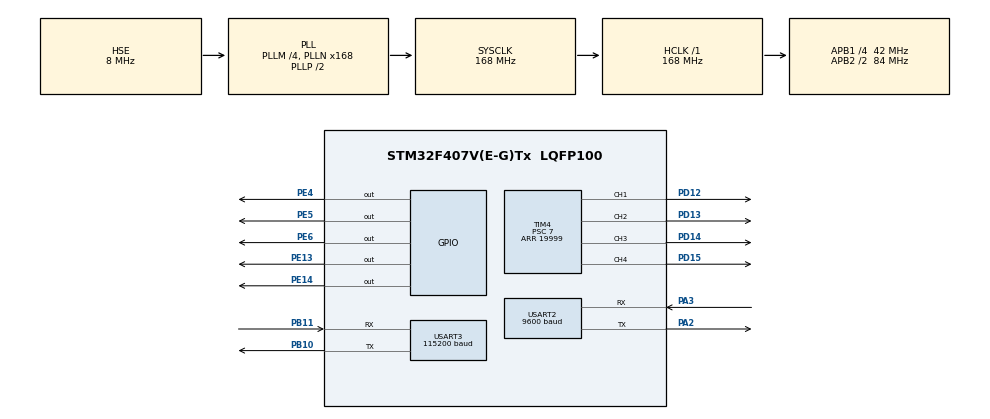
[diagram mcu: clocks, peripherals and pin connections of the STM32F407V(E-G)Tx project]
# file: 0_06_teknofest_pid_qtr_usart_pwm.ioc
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Mcu.Family=STM32F4
Mcu.Name=STM32F407V(E-G)Tx
Mcu.Package=LQFP100
NVIC.PriorityGroup=NVIC_PRIORITYGROUP_4
NVIC.USART2_IRQn=true\:0\:0\:false\:false\:true\:true\:true
NVIC.USART3_IRQn=true\:0\:0\:false\:false\:true\:true\:true
PA2.Mode=Asynchronous
PA2.Signal=USART2_TX
PA3.Mode=Asynchronous
PA3.Signal=USART2_RX
PB10.Mode=Asynchronous
PB10.Signal=USART3_TX
PB11.Mode=Asynchronous
PB11.Signal=USART3_RX
PD12.Signal=S_TIM4_CH1
PD13.Signal=S_TIM4_CH2
PD14.Signal=S_TIM4_CH3
PD15.Signal=S_TIM4_CH4
PE13.Signal=GPIO_Output
PE14.Signal=GPIO_Output
PE4.Signal=GPIO_Output
PE5.Signal=GPIO_Output
PE6.Signal=GPIO_Output
PH0-OSC_IN.Mode=HSE-External-Oscillator
PH0-OSC_IN.Signal=RCC_OSC_IN
PH1-OSC_OUT.Mode=HSE-External-Oscillator
PH1-OSC_OUT.Signal=RCC_OSC_OUT
ProjectManager.HeapSize=0x200
ProjectManager.StackSize=0x400
ProjectManager.TargetToolchain=TrueSTUDIO
RCC.48MHZClocksFreq_Value=84000000
RCC.AHBFreq_Value=168000000
RCC.APB1CLKDivider=RCC_HCLK_DIV4
RCC.APB1Freq_Value=42000000
RCC.APB1TimFreq_Value=84000000
RCC.APB2CLKDivider=RCC_HCLK_DIV2
RCC.APB2Freq_Value=84000000
RCC.APB2TimFreq_Value=168000000
RCC.CortexFreq_Value=168000000
RCC.HCLKFreq_Value=168000000
RCC.HSE_VALUE=8000000
RCC.HSI_VALUE=16000000
RCC.LSE_VALUE=32768
RCC.PLLM=4
RCC.PLLN=168
RCC.PLLSourceVirtual=RCC_PLLSOURCE_HSE
RCC.SYSCLKFreq_VALUE=168000000
RCC.SYSCLKSource=RCC_SYSCLKSOURCE_PLLCLK
RCC.VCOOutputFreq_Value=336000000
SH.S_TIM4_CH1.0=TIM4_CH1,PWM Generation1 CH1
SH.S_TIM4_CH2.0=TIM4_CH2,PWM Generation2 CH2
SH.S_TIM4_CH3.0=TIM4_CH3,PWM Generation3 CH3
SH.S_TIM4_CH4.0=TIM4_CH4,PWM Generation4 CH4
TIM4.Channel-PWM\ Generation1\ CH1=TIM_CHANNEL_1
TIM4.Channel-PWM\ Generation2\ CH2=TIM_CHANNEL_2
TIM4.Channel-PWM\ Generation3\ CH3=TIM_CHANNEL_3
TIM4.Channel-PWM\ Generation4\ CH4=TIM_CHANNEL_4
TIM4.Period=19999
TIM4.Prescaler=7
USART2.BaudRate=9600
USART2.VirtualMode=VM_ASYNC
USART3.BaudRate=115200
USART3.VirtualMode=VM_ASYNC
board=custom

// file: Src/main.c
/* USER CODE BEGIN Header */
/**
  ******************************************************************************
  * @file           : main.c
  * @brief          : Main program body
  ******************************************************************************
  * @attention
  *
  * Copyright (c) 2022 STMicroelectronics.
  * All rights reserved.
  *
  * This software is licensed under terms that can be found in the LICENSE file
  * in the root directory of this software component.
  * If no LICENSE file comes with this software, it is provided AS-IS.
  *
  ******************************************************************************
  */
/* USER CODE END Header */
#include "main.h"

/* USER CODE BEGIN Includes */
#include <stdlib.h>

/* USER CODE END Includes */

TIM_HandleTypeDef htim4;

UART_HandleTypeDef huart2;
UART_HandleTypeDef huart3;

void SystemClock_Config(void);
static void MX_GPIO_Init(void);
static void MX_TIM4_Init(void);
static void MX_USART2_UART_Init(void);
static void MX_USART3_UART_Init(void);
/* USER CODE BEGIN PFP */

uint32_t mapCalculation(long A,long B,long C,long D,long E);

/* USER CODE END PFP */

/* USER CODE BEGIN 0 */

//motor pins

#define Kp 0.09
#define Kd 1.08
#define rightMaxSpeed 255
#define leftMaxSpeed 255
#define rightBaseSpeed 200
#define leftBaseSpeed 200
#define maxPwmPulse 18500

#define yukAlmaPini GPIO_PIN_14
#define yukBirakmaPini GPIO_PIN_13
GPIO_PinState  yukAlmaPiniDurumu=SET;
GPIO_PinState yukBirakmaPiniDurumu=SET;

#define durmaLediPini GPIO_PIN_4
#define sagLediPini GPIO_PIN_6
#define solLediPini GPIO_PIN_5
GPIO_PinState  durmaLediDurumu=SET;
GPIO_PinState sagLediDurumu=RESET;
GPIO_PinState solLediDurumu=RESET;

int leftMotorSpeed=0,rightMotorSpeed=0;

uint32_t pwmPulseRight1=0; //tim4 channel1
uint32_t pwmPulseLeft1=0; //tim4 channel2

uint32_t pwmPulseRight2=0; //tim4 channel3
uint32_t pwmPulseLeft2=0; // tim4 channel 4

int ledKontrolDurum=0;

int lastError = 0;
uint16_t qtrPosition=0;
char qtrPosition_char[10];
char rx_buffer[50];
char tx_buffer[50];//led
char rx_byte[1];
int size=0;
int count=0;

uint32_t countTimer;
int delay_ms(uint32_t time) {
	countTimer=time;
	while(countTimer);
	return 1;
}

void SysTick_Handler(void)
{
  /* USER CODE BEGIN SysTick_IRQn 0 */

  /* USER CODE END SysTick_IRQn 0 */
  HAL_IncTick();
  /* USER CODE BEGIN SysTick_IRQn 1 */
  if(countTimer>0){
	  countTimer--;
  	}

  /* USER CODE END SysTick_IRQn 1 */
}
void USART3_IRQHandler(void)
{
  /* USER CODE BEGIN USART2_IRQn 0 */

   char rx_byte[1];

	   HAL_UART_Receive(&huart3,&rx_byte[0],1,100);

	   rx_buffer[size++]=rx_byte[0];

	   if(rx_byte[0]=='\n'){

		   uartMessageDebugNrf(rx_buffer);

		   //buffer is clear
		  	  for(int a=0;a<50;a++){
		       	rx_buffer[a]='\0';
		       	}
		      size=0;
	 }

  /* USER CODE END USART2_IRQn 0 */
  HAL_UART_IRQHandler(&huart3);
  /* USER CODE BEGIN USART2_IRQn 1 */
  /* USER CODE END USART2_IRQn 1 */
}

void USART2_IRQHandler(void)
{
  /* USER CODE BEGIN USART2_IRQn 0 */
   char rx_byte[1];

   HAL_UART_Receive(&huart2,&rx_byte[0],1,100);
   if(size<50){
	  rx_buffer[size++]=rx_byte[0];

	   if(rx_byte[0]=='\n'){

		   uartMessageDebugPid(rx_buffer);

		   //buffer is clear
		  	  for(int a=0;a<50;a++){
		       	rx_buffer[a]='\0';
		       	}
		      size=0;
	 }
}

  /* USER CODE END USART2_IRQn 0 */
  HAL_UART_IRQHandler(&huart2);
  /* USER CODE BEGIN USART2_IRQn 1 */
  /* USER CODE END USART2_IRQn 1 */
}

void uartMessageDebugPid (volatile char *s){

   if( s[0]=='p' && s[1]=='s' && s[2]=='t' ){

	 short k=3,m=0;
	 while(1){
		 if( s[k] != '\n'){
			 qtrPosition_char[m]=s[k];
		  k++;
		  m++;
		 }else {
			 qtrPosition_char[m] =s[k];
		   k=3;
		   m=0;
		   qtrPosition=atoi(qtrPosition_char);

		   qtrPidPwm(qtrPosition);

		   for(int a=0;a<10;a++){
			   qtrPosition_char[a]='\0';
		   	 }

		   break;
		  }

	 }

	 ledStabil();

  }else if(s[0]=='d' && s[1]=='u' && s[2]=='r'){

	  stop();
	  durLedYak();

  }
  else if(s[0]=='s' && s[1]=='a' && s[2]=='g'){

  	 right();
  	sagLedYak();
    }
  else if(s[0]=='s' && s[1]=='o' && s[2]=='l'){

	  left();
	  solLedYak();

   }else if(s[0]=='y' && s[1]=='u' && s[2]=='k' && s[3]=='a' && s[4]=='l' ){
	   yukAl();
	   durLedYak();
    }
   else if(s[0]=='y' && s[1]=='u' && s[2]=='k' && s[3]=='b' && s[4]=='i'
		   && s[5]=='r' && s[6]=='a' && s[7]=='k'){
	   yukBirak();
	   durLedYak();
       }
   else if(s[0]=='y' && s[1]=='u' && s[2]=='k' && s[3]=='o' && s[4]=='k'  && s[5]=='e' ){
   	   yukStabil();
          }
   else if(s[0]=='i' && s[1]=='l' && s[2]=='e'&& s[3]=='r' && s[4]=='i'  ){
		  ileriNrf();
		  ledStabil();

	  }

     else{

    	 for(int a=0;a<50;a++){
    			 rx_buffer[a]='\0';
          	}
         size=0;
     }

         }

void uartMessageDebugNrf(volatile char *s){

  if(s[0]=='i' && s[1]=='l' && s[2]=='e'&& s[3]=='r' && s[4]=='i' ){
	  ileriNrf();
	  ledStabil();

  }else if(s[0]=='d' && s[1]=='u' && s[2]=='r'){
	  stop();
	  durLedYak();

  }
  else if(s[0]=='s' && s[1]=='a' && s[2]=='g'){
  	  rightNrf();
  	  sagLedYak();

    }
  else if(s[0]=='s' && s[1]=='o' && s[2]=='l'){

	  leftNrf();
	  solLedYak();
   } else if(s[0]=='g' && s[1]=='e' && s[2]=='r' && s[3]=='i'){
	   geriNrf();
	   }
   else if(s[0]=='y' && s[1]=='u' && s[2]=='k' && s[3]=='a' && s[4]=='l' ){
   	   yukAl();
   	durLedYak();
       }
      else if(s[0]=='y' && s[1]=='u' && s[2]=='k' && s[3]=='b' && s[4]=='i'
   		   && s[5]=='r' && s[6]=='a' && s[7]=='k'){
   	   yukBirak();
   	durLedYak();
          }
      else if(s[0]=='y' && s[1]=='u' && s[2]=='k' && s[3]=='o' && s[4]=='k'  && s[5]=='e' ){
      	   yukStabil();
             }
  else{
	  for(int a=0;a<50;a++){
	     rx_buffer[a]='\0';
	           	}
	          size=0;
     }

}

void qtrPidPwm(uint16_t position){

	  int error = position - 3500;
	  int motorSpeed = Kp * error + Kd * (error - lastError);
	  lastError = error;

	   rightMotorSpeed = rightBaseSpeed + motorSpeed;
	   leftMotorSpeed = leftBaseSpeed - motorSpeed;

	  if (rightMotorSpeed > rightMaxSpeed ) rightMotorSpeed = rightMaxSpeed;
	  if (leftMotorSpeed > leftMaxSpeed ) leftMotorSpeed = leftMaxSpeed;
	  if (rightMotorSpeed < 0) rightMotorSpeed = 0;
	  if (leftMotorSpeed < 0) leftMotorSpeed = 0;

	  if (rightMotorSpeed == 0) rightMotorSpeed = 100;
	  if (leftMotorSpeed == 0) leftMotorSpeed = 100;

	  mapPulse(rightMotorSpeed,leftMotorSpeed);

}
void mapPulse(rightMotorSpeed,leftMotorSpeed){

	 pwmPulseRight2=0; //tim4 channel3
	 pwmPulseLeft2=0; // tim4 channel4

	pwmPulseRight1=mapCalculation(rightMotorSpeed,0,rightMaxSpeed,0,maxPwmPulse);
	pwmPulseLeft1=mapCalculation(leftMotorSpeed,0,leftMaxSpeed,0,maxPwmPulse);

}
uint32_t mapCalculation(long A,long B,long C,long D,long E){

	return ((A*E)/C);

}

void stop(){

	 pwmPulseRight1=0; //tim4 channel1
	 pwmPulseLeft1=0; //tim4 channel2
	 pwmPulseRight2=0; //tim4 channel3
	 pwmPulseLeft2=0; // tim4 channel4

}
void right(){

	pwmPulseRight1=0; //tim4 channel1
    pwmPulseLeft1=mapCalculation(200,0,255,0,maxPwmPulse); //tim4 channel2
	pwmPulseRight2=mapCalculation(60,0,255,0,maxPwmPulse); //tim4 channel3
	pwmPulseLeft2=0; // tim4 channel4

}
void left(){

	pwmPulseRight1=mapCalculation(200,0,255,0,maxPwmPulse); //tim4 channel1
    pwmPulseLeft1=0; //tim4 channel2
    pwmPulseRight2=0; //tim4 channel3
    pwmPulseLeft2=mapCalculation(60,0,255,0,maxPwmPulse);; // tim4 channel4

}

/********NRF*******/

void  ileriNrf(){

	 pwmPulseRight1=mapCalculation(200,0,255,0,18500); //tim4 channel1
     pwmPulseLeft1=mapCalculation(200,0,255,0,18500); //tim4 channel2
     pwmPulseRight2=0; //tim4 channel3
     pwmPulseLeft2=0; // tim4 channel4

}
void rightNrf(){

	pwmPulseRight1=0; //tim4 channel1
    pwmPulseLeft1=mapCalculation(200,0,255,0,maxPwmPulse); //tim4 channel2
	pwmPulseRight2=mapCalculation(60,0,255,0,maxPwmPulse);; //tim4 channel3
	pwmPulseLeft2=0; // tim4 channel4

}
void leftNrf(){

	pwmPulseRight1=mapCalculation(200,0,255,0,maxPwmPulse); //tim4 channel1
    pwmPulseLeft1=0; //tim4 channel2
    pwmPulseRight2=0; //tim4 channel3
    pwmPulseLeft2=mapCalculation(60,0,255,0,maxPwmPulse);; // tim4 channel4

}
void geriNrf(){
	 pwmPulseRight1=0; //tim4 channel1
	 pwmPulseLeft1=0; //tim4 channel2
	 pwmPulseRight2=mapCalculation(180,0,255,0,19999);   //tim4 channel3
	 pwmPulseLeft2=mapCalculation(180,0,255,0,19999);  //tim4 channel4

}

void yukAl(){

	 yukAlmaPiniDurumu=RESET;
	 yukBirakmaPiniDurumu=SET;

}
void yukBirak(){
   yukAlmaPiniDurumu=SET;
   yukBirakmaPiniDurumu=RESET;

}

void yukStabil(){
	yukAlmaPiniDurumu=SET;
    yukBirakmaPiniDurumu=SET;
}

void durLedYak(){
     durmaLediDurumu=RESET;
	 sagLediDurumu=SET;
	 solLediDurumu=SET;
}
void solLedYak(){
	 durmaLediDurumu=SET;
     sagLediDurumu=SET;
     solLediDurumu=RESET;
}
void sagLedYak(){
	durmaLediDurumu=SET;
    sagLediDurumu=RESET;
    solLediDurumu=SET;
}
void ledStabil(){
	    durmaLediDurumu=SET;
	    sagLediDurumu=RESET;
	    solLediDurumu=RESET;
}

/* USER CODE END 0 */

int main(void)
{

  /* MCU Configuration--------------------------------------------------------*/

  /* Reset of all peripherals, Initializes the Flash interface and the Systick. */
  HAL_Init();

  /* Configure the system clock */
  SystemClock_Config();

  /* USER CODE BEGIN , */

  /* USER CODE END SysInit */

  /* Initialize all configured peripherals */
  MX_GPIO_Init();
  MX_TIM4_Init();
  MX_USART2_UART_Init();
  MX_USART3_UART_Init();
  /* USER CODE BEGIN 2 */

  //pwm motor
   HAL_TIM_PWM_Start(&htim4,TIM_CHANNEL_1);
   HAL_TIM_PWM_Start(&htim4,TIM_CHANNEL_2);
   HAL_TIM_PWM_Start(&htim4,TIM_CHANNEL_3);
   HAL_TIM_PWM_Start(&htim4,TIM_CHANNEL_4);

  __HAL_UART_ENABLE_IT(&huart2,UART_IT_RXNE);//arduino mega
  __HAL_UART_ENABLE_IT(&huart3,UART_IT_RXNE); //nrf kablosuz

     pwmPulseRight1=0; //tim4 channel1
 	 pwmPulseLeft1=0; //tim4 channel2
 	 pwmPulseRight2=0; //tim4 channel3
 	 pwmPulseLeft2=0; // tim4 channel4

 	 // RESET OLUNCA ROLE ÇALIÞIYOR
 	 HAL_GPIO_WritePin(GPIOE,yukBirakmaPini,SET);
 	 HAL_GPIO_WritePin(GPIOE,yukAlmaPini,SET);
 	 //LED ROLE
 	  HAL_GPIO_WritePin(GPIOA,durmaLediPini,SET);
 	  HAL_GPIO_WritePin(GPIOA,sagLediPini,RESET);
 	  HAL_GPIO_WritePin(GPIOA,solLediPini,RESET);

  /* USER CODE END 2 */

  /* Infinite loop */
  while (1)
  {

    /* USER CODE BEGIN 3 */

     __HAL_TIM_SetCompare(&htim4,TIM_CHANNEL_1,pwmPulseRight1);
     __HAL_TIM_SetCompare(&htim4,TIM_CHANNEL_2,pwmPulseLeft1);

     __HAL_TIM_SetCompare(&htim4,TIM_CHANNEL_3,pwmPulseRight2);
     __HAL_TIM_SetCompare(&htim4,TIM_CHANNEL_4,pwmPulseLeft2);

     HAL_GPIO_WritePin(GPIOE,yukAlmaPini,yukAlmaPiniDurumu);
     HAL_GPIO_WritePin(GPIOE,yukBirakmaPini,yukBirakmaPiniDurumu);

     HAL_GPIO_WritePin(GPIOE,durmaLediPini,durmaLediDurumu);
     HAL_GPIO_WritePin(GPIOE,sagLediPini,sagLediDurumu);
     HAL_GPIO_WritePin(GPIOE,solLediPini,solLediDurumu);

  }
  /* USER CODE END 3 */
}

void SystemClock_Config(void)
{
  RCC_OscInitTypeDef RCC_OscInitStruct = {0};
  RCC_ClkInitTypeDef RCC_ClkInitStruct = {0};

  /** Configure the main internal regulator output voltage
  */
  __HAL_RCC_PWR_CLK_ENABLE();
  __HAL_PWR_VOLTAGESCALING_CONFIG(PWR_REGULATOR_VOLTAGE_SCALE1);
  /** Initializes the RCC Oscillators according to the specified parameters
  * in the RCC_OscInitTypeDef structure.
  */
  RCC_OscInitStruct.OscillatorType = RCC_OSCILLATORTYPE_HSE;
  RCC_OscInitStruct.HSEState = RCC_HSE_ON;
  RCC_OscInitStruct.PLL.PLLState = RCC_PLL_ON;
  RCC_OscInitStruct.PLL.PLLSource = RCC_PLLSOURCE_HSE;
  RCC_OscInitStruct.PLL.PLLM = 4;
  RCC_OscInitStruct.PLL.PLLN = 168;
  RCC_OscInitStruct.PLL.PLLP = RCC_PLLP_DIV2;
  RCC_OscInitStruct.PLL.PLLQ = 4;
  if (HAL_RCC_OscConfig(&RCC_OscInitStruct) != HAL_OK)
  {
    Error_Handler();
  }
  /** Initializes the CPU, AHB and APB buses clocks
  */
  RCC_ClkInitStruct.ClockType = RCC_CLOCKTYPE_HCLK|RCC_CLOCKTYPE_SYSCLK
                              |RCC_CLOCKTYPE_PCLK1|RCC_CLOCKTYPE_PCLK2;
  RCC_ClkInitStruct.SYSCLKSource = RCC_SYSCLKSOURCE_PLLCLK;
  RCC_ClkInitStruct.AHBCLKDivider = RCC_SYSCLK_DIV1;
  RCC_ClkInitStruct.APB1CLKDivider = RCC_HCLK_DIV4;
  RCC_ClkInitStruct.APB2CLKDivider = RCC_HCLK_DIV2;

  if (HAL_RCC_ClockConfig(&RCC_ClkInitStruct, FLASH_LATENCY_5) != HAL_OK)
  {
    Error_Handler();
  }
}

static void MX_TIM4_Init(void)
{

  TIM_MasterConfigTypeDef sMasterConfig = {0};
  TIM_OC_InitTypeDef sConfigOC = {0};

  htim4.Instance = TIM4;
  htim4.Init.Prescaler = 7;
  htim4.Init.CounterMode = TIM_COUNTERMODE_UP;
  htim4.Init.Period = 19999;
  htim4.Init.ClockDivision = TIM_CLOCKDIVISION_DIV1;
  htim4.Init.AutoReloadPreload = TIM_AUTORELOAD_PRELOAD_DISABLE;
  if (HAL_TIM_PWM_Init(&htim4) != HAL_OK)
  {
    Error_Handler();
  }
  sMasterConfig.MasterOutputTrigger = TIM_TRGO_RESET;
  sMasterConfig.MasterSlaveMode = TIM_MASTERSLAVEMODE_DISABLE;
  if (HAL_TIMEx_MasterConfigSynchronization(&htim4, &sMasterConfig) != HAL_OK)
  {
    Error_Handler();
  }
  sConfigOC.OCMode = TIM_OCMODE_PWM1;
  sConfigOC.Pulse = 0;
  sConfigOC.OCPolarity = TIM_OCPOLARITY_HIGH;
  sConfigOC.OCFastMode = TIM_OCFAST_DISABLE;
  if (HAL_TIM_PWM_ConfigChannel(&htim4, &sConfigOC, TIM_CHANNEL_1) != HAL_OK)
  {
    Error_Handler();
  }
  if (HAL_TIM_PWM_ConfigChannel(&htim4, &sConfigOC, TIM_CHANNEL_2) != HAL_OK)
  {
    Error_Handler();
  }
  if (HAL_TIM_PWM_ConfigChannel(&htim4, &sConfigOC, TIM_CHANNEL_3) != HAL_OK)
  {
    Error_Handler();
  }
  if (HAL_TIM_PWM_ConfigChannel(&htim4, &sConfigOC, TIM_CHANNEL_4) != HAL_OK)
  {
    Error_Handler();
  }
  HAL_TIM_MspPostInit(&htim4);

}

static void MX_USART2_UART_Init(void)
{

  huart2.Instance = USART2;
  huart2.Init.BaudRate = 9600;
  huart2.Init.WordLength = UART_WORDLENGTH_8B;
  huart2.Init.StopBits = UART_STOPBITS_1;
  huart2.Init.Parity = UART_PARITY_NONE;
  huart2.Init.Mode = UART_MODE_TX_RX;
  huart2.Init.HwFlowCtl = UART_HWCONTROL_NONE;
  huart2.Init.OverSampling = UART_OVERSAMPLING_16;
  if (HAL_UART_Init(&huart2) != HAL_OK)
  {
    Error_Handler();
  }

}

static void MX_USART3_UART_Init(void)
{

  huart3.Instance = USART3;
  huart3.Init.BaudRate = 115200;
  huart3.Init.WordLength = UART_WORDLENGTH_8B;
  huart3.Init.StopBits = UART_STOPBITS_1;
  huart3.Init.Parity = UART_PARITY_NONE;
  huart3.Init.Mode = UART_MODE_TX_RX;
  huart3.Init.HwFlowCtl = UART_HWCONTROL_NONE;
  huart3.Init.OverSampling = UART_OVERSAMPLING_16;
  if (HAL_UART_Init(&huart3) != HAL_OK)
  {
    Error_Handler();
  }

}

static void MX_GPIO_Init(void)
{
  GPIO_InitTypeDef GPIO_InitStruct = {0};

  /* GPIO Ports Clock Enable */
  __HAL_RCC_GPIOE_CLK_ENABLE();
  __HAL_RCC_GPIOH_CLK_ENABLE();
  __HAL_RCC_GPIOA_CLK_ENABLE();
  __HAL_RCC_GPIOB_CLK_ENABLE();
  __HAL_RCC_GPIOD_CLK_ENABLE();

  /*Configure GPIO pin Output Level */
  HAL_GPIO_WritePin(GPIOE, GPIO_PIN_4|GPIO_PIN_5|GPIO_PIN_6|GPIO_PIN_13
                          |GPIO_PIN_14, GPIO_PIN_RESET);

  /*Configure GPIO pins : PE4 PE5 PE6 PE13
                           PE14 */
  GPIO_InitStruct.Pin = GPIO_PIN_4|GPIO_PIN_5|GPIO_PIN_6|GPIO_PIN_13
                          |GPIO_PIN_14;
  GPIO_InitStruct.Mode = GPIO_MODE_OUTPUT_PP;
  GPIO_InitStruct.Pull = GPIO_NOPULL;
  GPIO_InitStruct.Speed = GPIO_SPEED_FREQ_LOW;
  HAL_GPIO_Init(GPIOE, &GPIO_InitStruct);

}

void Error_Handler(void)
{
  __disable_irq();
  while (1)
  {
  }
}
